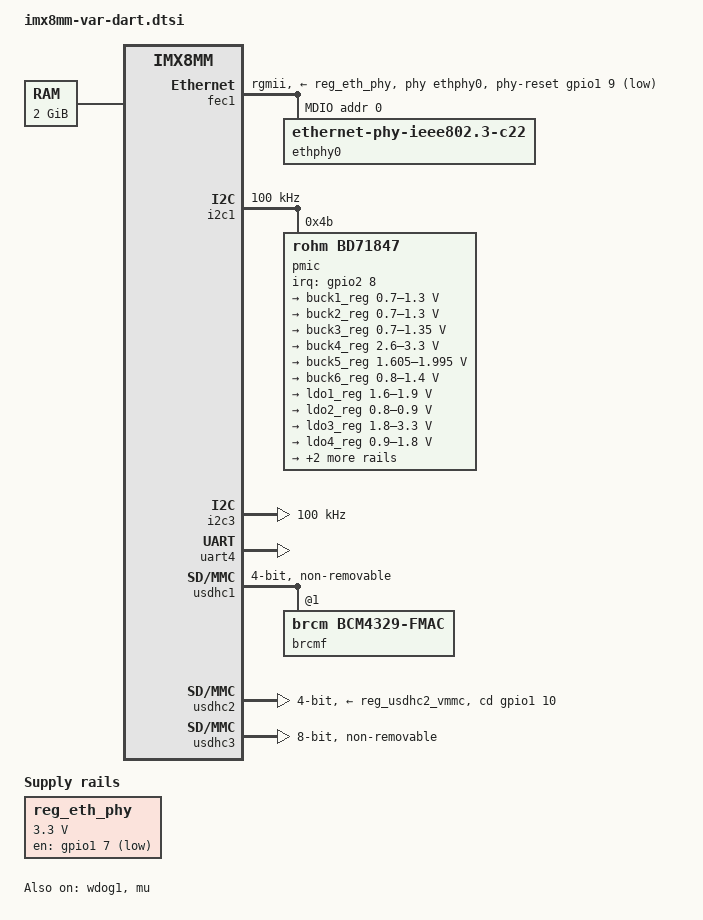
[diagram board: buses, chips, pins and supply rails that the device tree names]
// SPDX-License-Identifier: (GPL-2.0+ OR MIT)
/*
 * Copyright 2019 NXP
 * Copyright 2019-2021 Variscite Ltd.
 */

/dts-v1/;

#include "imx8mm.dtsi"

/ {
	compatible = "variscite,dart-mx8mm", "fsl,imx8mm";

	chosen {
		stdout-path = &uart1;
	};

	memory@40000000 {
		device_type = "memory";
		reg = <0x0 0x40000000 0 0x80000000>;
	};

	reg_eth_phy: regulator-eth-phy {
		compatible = "regulator-fixed";
		pinctrl-names = "default";
		pinctrl-0 = <&pinctrl_reg_eth_phy>;
		regulator-name = "eth_phy_pwr";
		regulator-min-microvolt = <3300000>;
		regulator-max-microvolt = <3300000>;
		gpio = <&gpio1 7 GPIO_ACTIVE_LOW>;
	};
};

&A53_0 {
	cpu-supply = <&buck2_reg>;
};

&A53_1 {
	cpu-supply = <&buck2_reg>;
};

&A53_2 {
	cpu-supply = <&buck2_reg>;
};

&A53_3 {
	cpu-supply = <&buck2_reg>;
};

&ddrc {
	operating-points-v2 = <&ddrc_opp_table>;

	ddrc_opp_table: opp-table {
		compatible = "operating-points-v2";

		opp-25M {
			opp-hz = /bits/ 64 <25000000>;
		};

		opp-100M {
			opp-hz = /bits/ 64 <100000000>;
		};

		opp-750M {
			opp-hz = /bits/ 64 <750000000>;
		};
	};
};

&fec1 {
	pinctrl-names = "default", "sleep";
	pinctrl-0 = <&pinctrl_fec1>;
	pinctrl-1 = <&pinctrl_fec1_sleep>;
	phy-mode = "rgmii";
	phy-handle = <&ethphy0>;
	phy-supply = <&reg_eth_phy>;
	phy-reset-gpios = <&gpio1 9 GPIO_ACTIVE_LOW>;
	phy-reset-duration = <10>;
	phy-reset-post-delay = <20>;
	phy-reset-on-resume;
	status = "okay";

	mdio {
		#address-cells = <1>;
		#size-cells = <0>;

		ethphy0: ethernet-phy@0 {
			compatible = "ethernet-phy-ieee802.3-c22";
			reg = <0>;
			at803x,led-act-blind-workaround;
			at803x,eee-disabled;
			at803x,vddio-1p8v;
		};
	};
};

&i2c1 {
	clock-frequency = <100000>;
	pinctrl-names = "default";
	pinctrl-0 = <&pinctrl_i2c1>;
	status = "okay";

	pmic@4b {
		compatible = "rohm,bd71847";
		reg = <0x4b>;
		pinctrl-names = "default";
		pinctrl-0 = <&pinctrl_pmic>;
		interrupt-parent = <&gpio2>;
		interrupts = <8 IRQ_TYPE_LEVEL_LOW>;
		rohm,reset-snvs-powered;
		
		#clock-cells = <0>;
		clocks = <&osc_32k 0>;
		clock-output-names = "clk-32k-out";

		regulators {
			buck1_reg: BUCK1 {
				regulator-name = "BUCK1";
				regulator-min-microvolt = <700000>;
				regulator-max-microvolt = <1300000>;
				regulator-boot-on;
				regulator-always-on;
				regulator-ramp-delay = <1250>;
			};

			buck2_reg: BUCK2 {
				regulator-name = "BUCK2";
				regulator-min-microvolt = <700000>;
				regulator-max-microvolt = <1300000>;
				regulator-boot-on;
				regulator-always-on;
				regulator-ramp-delay = <1250>;
				rohm,dvs-run-voltage = <1000000>;
				rohm,dvs-idle-voltage = <900000>;
			};

			buck3_reg: BUCK3 {
				// BUCK5 in datasheet
				regulator-name = "BUCK3";
				regulator-min-microvolt = <700000>;
				regulator-max-microvolt = <1350000>;
				regulator-boot-on;
				regulator-always-on;
			};

			buck4_reg: BUCK4 {
				// BUCK6 in datasheet
				regulator-name = "BUCK4";
				regulator-min-microvolt = <2600000>;
				regulator-max-microvolt = <3300000>;
				regulator-boot-on;
				regulator-always-on;
			};

			buck5_reg: BUCK5 {
				// BUCK7 in datasheet
				regulator-name = "BUCK5";
				regulator-min-microvolt = <1605000>;
				regulator-max-microvolt = <1995000>;
				regulator-boot-on;
				regulator-always-on;
			};

			buck6_reg: BUCK6 {
				// BUCK8 in datasheet
				regulator-name = "BUCK6";
				regulator-min-microvolt = <800000>;
				regulator-max-microvolt = <1400000>;
				regulator-boot-on;
				regulator-always-on;
			};

			ldo1_reg: LDO1 {
				regulator-name = "LDO1";
				regulator-min-microvolt = <1600000>;
				regulator-max-microvolt = <1900000>;
				regulator-boot-on;
				regulator-always-on;
			};

			ldo2_reg: LDO2 {
				regulator-name = "LDO2";
				regulator-min-microvolt = <800000>;
				regulator-max-microvolt = <900000>;
				regulator-boot-on;
				regulator-always-on;
			};

			ldo3_reg: LDO3 {
				regulator-name = "LDO3";
				regulator-min-microvolt = <1800000>;
				regulator-max-microvolt = <3300000>;
				regulator-boot-on;
				regulator-always-on;
			};

			ldo4_reg: LDO4 {
				regulator-name = "LDO4";
				regulator-min-microvolt = <900000>;
				regulator-max-microvolt = <1800000>;
				regulator-always-on;
			};

			ldo5_reg: LDO5 {
				regulator-name = "LDO5";
				regulator-min-microvolt = <1800000>;
				regulator-max-microvolt = <1800000>;
				regulator-always-on;
			};

			ldo6_reg: LDO6 {
				regulator-name = "LDO6";
				regulator-min-microvolt = <900000>;
				regulator-max-microvolt = <1800000>;
				regulator-boot-on;
				regulator-always-on;
			};
		};
	};
};

&i2c3 {
	clock-frequency = <100000>;
	pinctrl-names = "default";
	pinctrl-0 = <&pinctrl_i2c3>;
	status = "okay";
};

&sai3 {
	#sound-dai-cells = <0>;
	pinctrl-names = "default";
	pinctrl-0 = <&pinctrl_sai3>;
	assigned-clocks = <&clk IMX8MM_CLK_SAI3>;
	assigned-clock-parents = <&clk IMX8MM_AUDIO_PLL1_OUT>;
	assigned-clock-rates = <1536000>;
	status = "disabled";
};

/* Bluetooth */
&uart4 {
	pinctrl-names = "default";
	pinctrl-0 = <&pinctrl_uart4>, <&pinctrl_bt>;
	assigned-clocks = <&clk IMX8MM_CLK_UART4>;
	assigned-clock-parents = <&clk IMX8MM_SYS_PLL1_80M>;
	uart-has-rtscts;
	status = "okay";
};

/* WIFI */
&usdhc1 {
	#address-cells = <1>;
	#size-cells = <0>;
	pinctrl-names = "default", "state_100mhz", "state_200mhz";
	pinctrl-0 = <&pinctrl_usdhc1>, <&pinctrl_wifi>;
	pinctrl-1 = <&pinctrl_usdhc1_100mhz>, <&pinctrl_wifi>;
	pinctrl-2 = <&pinctrl_usdhc1_200mhz>, <&pinctrl_wifi>;
	bus-width = <4>;
	non-removable;
	keep-power-in-suspend;
	status = "okay";

	brcmf: wifi@1 {
		reg = <1>;
		compatible = "brcm,bcm4329-fmac";
		laird,regdomain = "US";
	};
};

/* SD */
&usdhc2 {
	pinctrl-names = "default", "state_100mhz", "state_200mhz";
	pinctrl-0 = <&pinctrl_usdhc2>, <&pinctrl_usdhc2_gpio>;
	pinctrl-1 = <&pinctrl_usdhc2_100mhz>, <&pinctrl_usdhc2_gpio>;
	pinctrl-2 = <&pinctrl_usdhc2_200mhz>, <&pinctrl_usdhc2_gpio>;
	cd-gpios = <&gpio1 10 GPIO_ACTIVE_HIGH>;
	bus-width = <4>;
	vmmc-supply = <&reg_usdhc2_vmmc>;
	status = "okay";
};

/* EMMC */
&usdhc3 {
	pinctrl-names = "default", "state_100mhz", "state_200mhz";
	pinctrl-0 = <&pinctrl_usdhc3>;
	pinctrl-1 = <&pinctrl_usdhc3_100mhz>;
	pinctrl-2 = <&pinctrl_usdhc3_200mhz>;
	bus-width = <8>;
	non-removable;
	status = "okay";
};

&wdog1 {
	pinctrl-names = "default";
	pinctrl-0 = <&pinctrl_wdog>;
	fsl,ext-reset-output;
	status = "okay";
};

&flexspi {
	pinctrl-names = "default";
	pinctrl-0 = <&pinctrl_flexspi0>;
	status = "disabled";
};

&mu {
	status = "okay";
};

&iomuxc {
	pinctrl_fec1: fec1grp {
		fsl,pins = <
			MX8MM_IOMUXC_ENET_MDC_ENET1_MDC			0x3
			MX8MM_IOMUXC_ENET_MDIO_ENET1_MDIO		0x3
			MX8MM_IOMUXC_ENET_TD3_ENET1_RGMII_TD3		0x1f
			MX8MM_IOMUXC_ENET_TD2_ENET1_RGMII_TD2		0x1f
			MX8MM_IOMUXC_ENET_TD1_ENET1_RGMII_TD1		0x1f
			MX8MM_IOMUXC_ENET_TD0_ENET1_RGMII_TD0		0x1f
			MX8MM_IOMUXC_ENET_RD3_ENET1_RGMII_RD3		0x91
			MX8MM_IOMUXC_ENET_RD2_ENET1_RGMII_RD2		0x91
			MX8MM_IOMUXC_ENET_RD1_ENET1_RGMII_RD1		0x91
			MX8MM_IOMUXC_ENET_RD0_ENET1_RGMII_RD0		0x91
			MX8MM_IOMUXC_ENET_TXC_ENET1_RGMII_TXC		0x1f
			MX8MM_IOMUXC_ENET_RXC_ENET1_RGMII_RXC		0x91
			MX8MM_IOMUXC_ENET_RX_CTL_ENET1_RGMII_RX_CTL	0x91
			MX8MM_IOMUXC_ENET_TX_CTL_ENET1_RGMII_TX_CTL	0x1f
			MX8MM_IOMUXC_GPIO1_IO09_GPIO1_IO9		0x19
		>;
	};

	pinctrl_fec1_sleep: fec1grpsleep {
		fsl,pins = <
			MX8MM_IOMUXC_ENET_MDC_GPIO1_IO16		0x120
			MX8MM_IOMUXC_ENET_MDIO_GPIO1_IO17		0x120
			MX8MM_IOMUXC_ENET_TD3_GPIO1_IO18		0x120
			MX8MM_IOMUXC_ENET_TD2_GPIO1_IO19		0x120
			MX8MM_IOMUXC_ENET_TD1_GPIO1_IO20		0x120
			MX8MM_IOMUXC_ENET_TD0_GPIO1_IO21		0x120
			MX8MM_IOMUXC_ENET_RD3_GPIO1_IO29		0x120
			MX8MM_IOMUXC_ENET_RD2_GPIO1_IO28		0x120
			MX8MM_IOMUXC_ENET_RD1_GPIO1_IO27		0x120
			MX8MM_IOMUXC_ENET_RD0_GPIO1_IO26		0x120
			MX8MM_IOMUXC_ENET_TXC_GPIO1_IO23		0x120
			MX8MM_IOMUXC_ENET_RXC_GPIO1_IO25		0x120
			MX8MM_IOMUXC_ENET_RX_CTL_GPIO1_IO24		0x120
			MX8MM_IOMUXC_ENET_TX_CTL_GPIO1_IO22		0x120
			MX8MM_IOMUXC_GPIO1_IO09_GPIO1_IO9		0x120
		>;
	};

	pinctrl_i2c1: i2c1grp {
		fsl,pins = <
			MX8MM_IOMUXC_I2C1_SCL_I2C1_SCL			0x400001c3
			MX8MM_IOMUXC_I2C1_SDA_I2C1_SDA			0x400001c3
		>;
	};

	pinctrl_i2c3: i2c3grp {
		fsl,pins = <
			MX8MM_IOMUXC_I2C3_SCL_I2C3_SCL			0x400001c3
			MX8MM_IOMUXC_I2C3_SDA_I2C3_SDA			0x400001c3
		>;
	};

	pinctrl_lvds: lvdsgrp {
		fsl,pins = <
			MX8MM_IOMUXC_SD1_STROBE_GPIO2_IO11		0x16
		>;
	};

	pinctrl_pmic: pmicgrp {
		fsl,pins = <
			MX8MM_IOMUXC_SD1_DATA6_GPIO2_IO8		0x141
		>;
	};

	pinctrl_reg_eth_phy: regethphy {
		fsl,pins = <
			MX8MM_IOMUXC_GPIO1_IO07_GPIO1_IO7		0x41
		>;
	};

	pinctrl_sai3: sai3grp {
		fsl,pins = <
			MX8MM_IOMUXC_SAI3_RXFS_SAI3_RX_SYNC		0xd6
			MX8MM_IOMUXC_SAI3_RXC_SAI3_RX_BCLK		0xd6
			MX8MM_IOMUXC_SAI3_RXD_SAI3_RX_DATA0		0xd6
			MX8MM_IOMUXC_SAI3_TXFS_SAI3_TX_SYNC		0xd6
			MX8MM_IOMUXC_SAI3_TXC_SAI3_TX_BCLK		0xd6
			MX8MM_IOMUXC_SAI3_TXD_SAI3_TX_DATA0		0xd6
			MX8MM_IOMUXC_SAI3_MCLK_SAI3_MCLK		0xd6
		>;
	};

	pinctrl_spdif1: spdif1grp {
		fsl,pins = <
			MX8MM_IOMUXC_SPDIF_TX_SPDIF1_OUT		0xd6
			MX8MM_IOMUXC_SPDIF_RX_SPDIF1_IN			0xd6
		>;
	};

	pinctrl_uart4: uart4grp {
		fsl,pins = <
			MX8MM_IOMUXC_ECSPI2_SCLK_UART4_DCE_RX		0x140
			MX8MM_IOMUXC_ECSPI2_MOSI_UART4_DCE_TX		0x140
			MX8MM_IOMUXC_ECSPI2_SS0_UART4_DCE_RTS_B		0x140
			MX8MM_IOMUXC_ECSPI2_MISO_UART4_DCE_CTS_B	0x140
		>;
	};

	pinctrl_usdhc1: usdhc1grp {
		fsl,pins = <
			MX8MM_IOMUXC_SD1_CLK_USDHC1_CLK			0x190
			MX8MM_IOMUXC_SD1_CMD_USDHC1_CMD			0x1d0
			MX8MM_IOMUXC_SD1_DATA0_USDHC1_DATA0		0x1d0
			MX8MM_IOMUXC_SD1_DATA1_USDHC1_DATA1		0x1d0
			MX8MM_IOMUXC_SD1_DATA2_USDHC1_DATA2		0x1d0
			MX8MM_IOMUXC_SD1_DATA3_USDHC1_DATA3		0x1d0
		>;
	};

	pinctrl_usdhc1_100mhz: usdhc1grp100mhz {
		fsl,pins = <
			MX8MM_IOMUXC_SD1_CLK_USDHC1_CLK			0x194
			MX8MM_IOMUXC_SD1_CMD_USDHC1_CMD			0x1d4
			MX8MM_IOMUXC_SD1_DATA0_USDHC1_DATA0		0x1d4
			MX8MM_IOMUXC_SD1_DATA1_USDHC1_DATA1		0x1d4
			MX8MM_IOMUXC_SD1_DATA2_USDHC1_DATA2		0x1d4
			MX8MM_IOMUXC_SD1_DATA3_USDHC1_DATA3		0x1d4
		>;
	};

	pinctrl_usdhc1_200mhz: usdhc1grp200mhz {
		fsl,pins = <
			MX8MM_IOMUXC_SD1_CLK_USDHC1_CLK			0x196
			MX8MM_IOMUXC_SD1_CMD_USDHC1_CMD			0x1d6
			MX8MM_IOMUXC_SD1_DATA0_USDHC1_DATA0		0x1d6
			MX8MM_IOMUXC_SD1_DATA1_USDHC1_DATA1		0x1d6
			MX8MM_IOMUXC_SD1_DATA2_USDHC1_DATA2		0x1d6
			MX8MM_IOMUXC_SD1_DATA3_USDHC1_DATA3		0x1d6
		>;
	};

	pinctrl_usdhc2_gpio: usdhc2gpiogrp {
		fsl,pins = <
			MX8MM_IOMUXC_GPIO1_IO10_GPIO1_IO10	0xc1
		>;
	};

	pinctrl_usdhc2: usdhc2grp {
		fsl,pins = <
			MX8MM_IOMUXC_SD2_CLK_USDHC2_CLK		0x190
			MX8MM_IOMUXC_SD2_CMD_USDHC2_CMD		0x1d0
			MX8MM_IOMUXC_SD2_DATA0_USDHC2_DATA0	0x1d0
			MX8MM_IOMUXC_SD2_DATA1_USDHC2_DATA1	0x1d0
			MX8MM_IOMUXC_SD2_DATA2_USDHC2_DATA2	0x1d0
			MX8MM_IOMUXC_SD2_DATA3_USDHC2_DATA3	0x1d0
			MX8MM_IOMUXC_GPIO1_IO04_USDHC2_VSELECT	0x1d0
		>;
	};

	pinctrl_usdhc2_100mhz: usdhc2-100mhzgrp {
		fsl,pins = <
			MX8MM_IOMUXC_SD2_CLK_USDHC2_CLK		0x194
			MX8MM_IOMUXC_SD2_CMD_USDHC2_CMD		0x1d4
			MX8MM_IOMUXC_SD2_DATA0_USDHC2_DATA0	0x1d4
			MX8MM_IOMUXC_SD2_DATA1_USDHC2_DATA1	0x1d4
			MX8MM_IOMUXC_SD2_DATA2_USDHC2_DATA2	0x1d4
			MX8MM_IOMUXC_SD2_DATA3_USDHC2_DATA3	0x1d4
			MX8MM_IOMUXC_GPIO1_IO04_USDHC2_VSELECT	0x1d0
		>;
	};

	pinctrl_usdhc2_200mhz: usdhc2-200mhzgrp {
		fsl,pins = <
			MX8MM_IOMUXC_SD2_CLK_USDHC2_CLK		0x196
			MX8MM_IOMUXC_SD2_CMD_USDHC2_CMD		0x1d6
			MX8MM_IOMUXC_SD2_DATA0_USDHC2_DATA0	0x1d6
			MX8MM_IOMUXC_SD2_DATA1_USDHC2_DATA1	0x1d6
			MX8MM_IOMUXC_SD2_DATA2_USDHC2_DATA2	0x1d6
			MX8MM_IOMUXC_SD2_DATA3_USDHC2_DATA3	0x1d6
			MX8MM_IOMUXC_GPIO1_IO04_USDHC2_VSELECT	0x1d0
		>;
	};

	pinctrl_usdhc3: usdhc3grp {
		fsl,pins = <
			MX8MM_IOMUXC_NAND_WE_B_USDHC3_CLK		0x190
			MX8MM_IOMUXC_NAND_WP_B_USDHC3_CMD		0x1d0
			MX8MM_IOMUXC_NAND_DATA04_USDHC3_DATA0		0x1d0
			MX8MM_IOMUXC_NAND_DATA05_USDHC3_DATA1		0x1d0
			MX8MM_IOMUXC_NAND_DATA06_USDHC3_DATA2		0x1d0
			MX8MM_IOMUXC_NAND_DATA07_USDHC3_DATA3		0x1d0
			MX8MM_IOMUXC_NAND_RE_B_USDHC3_DATA4		0x1d0
			MX8MM_IOMUXC_NAND_CE2_B_USDHC3_DATA5		0x1d0
			MX8MM_IOMUXC_NAND_CE3_B_USDHC3_DATA6		0x1d0
			MX8MM_IOMUXC_NAND_CLE_USDHC3_DATA7		0x1d0
			MX8MM_IOMUXC_NAND_CE1_B_USDHC3_STROBE 		0x190
		>;
	};

	pinctrl_usdhc3_100mhz: usdhc3grp100mhz {
		fsl,pins = <
			MX8MM_IOMUXC_NAND_WE_B_USDHC3_CLK		0x194
			MX8MM_IOMUXC_NAND_WP_B_USDHC3_CMD		0x1d4
			MX8MM_IOMUXC_NAND_DATA04_USDHC3_DATA0		0x1d4
			MX8MM_IOMUXC_NAND_DATA05_USDHC3_DATA1		0x1d4
			MX8MM_IOMUXC_NAND_DATA06_USDHC3_DATA2		0x1d4
			MX8MM_IOMUXC_NAND_DATA07_USDHC3_DATA3		0x1d4
			MX8MM_IOMUXC_NAND_RE_B_USDHC3_DATA4		0x1d4
			MX8MM_IOMUXC_NAND_CE2_B_USDHC3_DATA5		0x1d4
			MX8MM_IOMUXC_NAND_CE3_B_USDHC3_DATA6		0x1d4
			MX8MM_IOMUXC_NAND_CLE_USDHC3_DATA7		0x1d4
			MX8MM_IOMUXC_NAND_CE1_B_USDHC3_STROBE 		0x194
		>;
	};

	pinctrl_usdhc3_200mhz: usdhc3grp200mhz {
		fsl,pins = <
			MX8MM_IOMUXC_NAND_WE_B_USDHC3_CLK		0x196
			MX8MM_IOMUXC_NAND_WP_B_USDHC3_CMD		0x1d6
			MX8MM_IOMUXC_NAND_DATA04_USDHC3_DATA0		0x1d6
			MX8MM_IOMUXC_NAND_DATA05_USDHC3_DATA1		0x1d6
			MX8MM_IOMUXC_NAND_DATA06_USDHC3_DATA2		0x1d6
			MX8MM_IOMUXC_NAND_DATA07_USDHC3_DATA3		0x1d6
			MX8MM_IOMUXC_NAND_RE_B_USDHC3_DATA4		0x1d6
			MX8MM_IOMUXC_NAND_CE2_B_USDHC3_DATA5		0x1d6
			MX8MM_IOMUXC_NAND_CE3_B_USDHC3_DATA6		0x1d6
			MX8MM_IOMUXC_NAND_CLE_USDHC3_DATA7		0x1d6
			MX8MM_IOMUXC_NAND_CE1_B_USDHC3_STROBE 		0x196
		>;
	};

	pinctrl_wdog: wdoggrp {
		fsl,pins = <
			MX8MM_IOMUXC_GPIO1_IO02_WDOG1_WDOG_B		0xc6
		>;
	};

	pinctrl_wifi: wifigrp {
		fsl,pins = <
			MX8MM_IOMUXC_SD1_DATA5_GPIO2_IO7		0xc1	/* WIFI_3V3_PWR_EN */
			MX8MM_IOMUXC_SD2_WP_GPIO2_IO20			0x140	/* WIFI_1V8_PWR_EN */
			MX8MM_IOMUXC_SD1_RESET_B_GPIO2_IO10		0xc1	/* WIFI_REG_ON     */
		>;
	};

	pinctrl_bt: btgrp {
		fsl,pins = <
			MX8MM_IOMUXC_SD1_DATA4_GPIO2_IO6		0xc1	/* BT_REG_ON       */
			MX8MM_IOMUXC_SPDIF_EXT_CLK_GPIO5_IO5		0xc1	/* BT_BUF_EN       */
		>;
	};

	pinctrl_flexspi0: flexspi0grp {
		fsl,pins = <
			MX8MM_IOMUXC_NAND_ALE_QSPI_A_SCLK		0x1c2
			MX8MM_IOMUXC_NAND_CE0_B_QSPI_A_SS0_B		0x82
			MX8MM_IOMUXC_NAND_DATA00_QSPI_A_DATA0		0x82
			MX8MM_IOMUXC_NAND_DATA01_QSPI_A_DATA1		0x82
			MX8MM_IOMUXC_NAND_DATA02_QSPI_A_DATA2		0x82
			MX8MM_IOMUXC_NAND_DATA03_QSPI_A_DATA3		0x82
		>;
	};

	pinctrl_pdm: pdmgrp {
		fsl,pins = <
			MX8MM_IOMUXC_SAI5_MCLK_SAI5_MCLK		0xd6
			MX8MM_IOMUXC_SAI5_RXC_PDM_CLK			0xd6
			MX8MM_IOMUXC_SAI5_RXFS_SAI5_RX_SYNC		0xd6
			MX8MM_IOMUXC_SAI5_RXD0_PDM_DATA0		0xd6
			MX8MM_IOMUXC_SAI5_RXD1_PDM_DATA1		0xd6
			MX8MM_IOMUXC_SAI5_RXD2_PDM_DATA2		0xd6
			MX8MM_IOMUXC_SAI5_RXD3_PDM_DATA3		0xd6
		>;
	};
};
